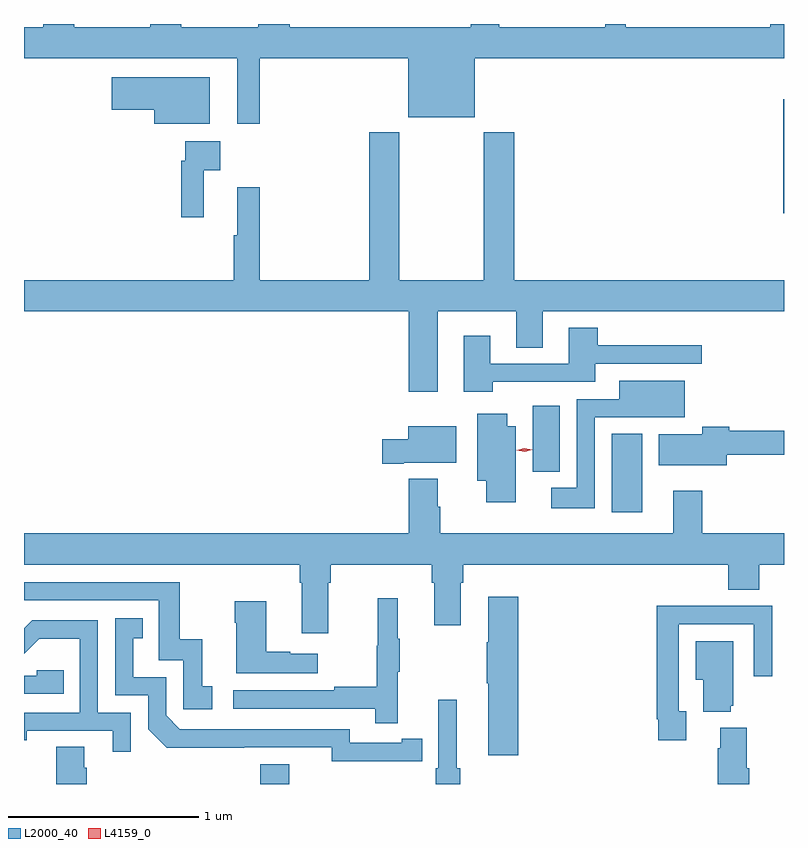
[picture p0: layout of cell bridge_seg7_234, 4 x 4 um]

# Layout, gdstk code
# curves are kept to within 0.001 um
import gdstk
lib = gdstk.Library(unit=1e-6, precision=1e-09)
def R(c, l, rs):  # rectangles x0, y0, x1, y1
    for r in rs: c.add(gdstk.rectangle(r[:2], r[2:], *l))
def P(c, l, *ps):  # polygons
    for p in ps: c.add(gdstk.Polygon(p, *l))
L2000_40 = (2000, 40)
L4159_0 = (4159, 0)

bridge_seg7_234 = lib.new_cell('bridge_seg7_234')
R(bridge_seg7_234, L2000_40, [(267.368,1039.421,267.52,1039.525), (269.219,1040.85,269.38,1041.265), (268.802,1041.065,268.945,1041.412), (270.121,1042.426,270.125,1043.024)])
P(bridge_seg7_234, L2000_40, [(267.365,1043.24),(268.148,1043.24),(268.148,1042.931),(268.498,1042.931),(268.498,1043.24),(270.125,1043.24),(270.125,1043.421),(270.053,1043.421),(270.053,1043.404),(269.293,1043.404),(269.293,1043.421),(269.184,1043.421),(269.184,1043.404),(268.627,1043.404),(268.627,1043.421),(268.475,1043.421),(268.475,1043.404),(267.523,1043.404),(267.523,1043.421),(267.359,1043.421),(267.359,1043.404),(266.953,1043.404),(266.953,1043.421),(266.789,1043.421),(266.789,1043.404),(266.389,1043.404),(266.389,1043.421),(266.225,1043.421),(266.225,1043.404),(266.125,1043.404),(266.125,1043.24),(267.248,1043.24),(267.248,1042.896),(267.365,1042.896)],
  [(267.103,1043.14),(266.586,1043.14),(266.586,1042.97),(266.81,1042.97),(266.81,1042.895),(267.103,1042.895)],
  [(268.715,1041.718),(268.855,1041.718),(268.855,1041.908),(270.125,1041.908),(270.125,1042.072),(268.706,1042.072),(268.706,1042.852),(268.546,1042.852),(268.546,1042.072),(268.101,1042.072),(268.101,1042.852),(267.941,1042.852),(267.941,1042.072),(267.365,1042.072),(267.365,1042.561),(267.248,1042.561),(267.248,1042.308),(267.229,1042.308),(267.229,1042.072),(266.125,1042.072),(266.125,1041.908),(268.151,1041.908),(268.151,1041.486),(268.303,1041.486),(268.303,1041.908),(268.715,1041.908)],
  [(267.071,1042.652),(267.157,1042.652),(267.157,1042.804),(266.973,1042.804),(266.973,1042.7),(266.953,1042.7),(266.953,1042.404),(267.071,1042.404)],
  [(268.592,1041.537),(269.131,1041.537),(269.131,1041.633),(269.692,1041.633),(269.692,1041.73),(269.144,1041.73),(269.144,1041.823),(268.991,1041.823),(268.991,1041.633),(268.579,1041.633),(268.579,1041.781),(268.439,1041.781),(268.439,1041.486),(268.592,1041.486)],
  [(269.13,1041.351),(269.376,1041.351),(269.376,1041.35),(269.602,1041.35),(269.602,1041.544),(269.258,1041.544),(269.258,1041.447),(269.034,1041.447),(269.034,1040.98),(268.899,1040.98),(268.899,1040.873),(269.13,1040.873)],
  [(268.714,1041.304),(268.669,1041.304),(268.669,1041.37),(268.511,1041.37),(268.511,1041.017),(268.559,1041.017),(268.559,1040.904),(268.714,1040.904)],
  [(268.123,1041.113),(268.399,1041.113),(268.399,1041.304),(268.148,1041.304),(268.148,1041.235),(268.011,1041.235),(268.011,1041.106),(268.123,1041.106)],
  [(269.824,1041.153),(270.125,1041.153),(270.125,1041.281),(269.837,1041.281),(269.837,1041.3),(269.695,1041.3),(269.695,1041.262),(269.465,1041.262),(269.465,1041.098),(269.824,1041.098)],
  [(267.727,1040.48),(267.74,1040.48),(267.74,1040.576),(268.271,1040.576),(268.271,1040.48),(268.283,1040.48),(268.283,1040.256),(268.423,1040.256),(268.423,1040.48),(268.436,1040.48),(268.436,1040.576),(269.831,1040.576),(269.831,1040.443),(269.996,1040.443),(269.996,1040.576),(270.125,1040.576),(270.125,1040.74),(269.696,1040.74),(269.696,1040.965),(269.543,1040.965),(269.543,1040.74),(268.316,1040.74),(268.316,1040.879),(268.303,1040.879),(268.303,1041.028),(268.151,1041.028),(268.151,1040.74),(266.125,1040.74),(266.125,1040.576),(267.575,1040.576),(267.575,1040.48),(267.587,1040.48),(267.587,1040.214),(267.727,1040.214)],
  [(267.115,1039.935),(267.062,1039.935),(267.062,1040.182),(266.944,1040.182),(266.944,1040.484),(266.125,1040.484),(266.125,1040.388),(266.835,1040.388),(266.835,1040.073),(266.964,1040.073),(266.964,1039.815),(267.115,1039.815)],
  [(268.727,1040.407),(268.568,1040.407),(268.568,1040.168),(268.561,1040.168),(268.561,1039.951),(268.568,1039.951),(268.568,1039.572),(268.727,1039.572)],
  [(268.091,1040.011),(268.102,1040.011),(268.102,1040.185),(268.091,1040.185),(268.091,1040.398),(267.988,1040.398),(267.988,1040.148),(267.981,1040.148),(267.981,1039.934),(267.757,1039.934),(267.757,1039.914),(267.225,1039.914),(267.225,1039.818),(267.973,1039.818),(267.973,1039.74),(268.091,1039.74)],
  [(267.67,1040.107),(267.527,1040.107),(267.527,1040.117),(267.4,1040.117),(267.4,1040.382),(267.235,1040.382),(267.235,1040.27),(267.242,1040.27),(267.242,1040.003),(267.67,1040.003)],
  [(269.611,1039.805),(269.571,1039.805),(269.571,1040.262),(269.967,1040.262),(269.967,1039.989),(270.063,1039.989),(270.063,1040.358),(269.747,1040.358),(269.747,1040.36),(269.455,1040.36),(269.455,1039.762),(269.463,1039.762),(269.463,1039.65),(269.611,1039.65)],
  [(268.112,1039.542),(268.22,1039.542),(268.22,1039.658),(268.112,1039.658),(268.112,1039.638),(267.84,1039.638),(267.84,1039.71),(266.946,1039.71),(266.874,1039.782),(266.874,1039.983),(266.701,1039.983),(266.701,1040.187),(266.75,1040.187),(266.75,1040.293),(266.604,1040.293),(266.604,1039.887),(266.778,1039.887),(266.778,1039.71),(266.876,1039.613),(267.744,1039.614),(267.744,1039.541)],
  [(266.688,1039.797),(266.514,1039.797),(266.514,1040.283),(266.168,1040.283),(266.125,1040.24),(266.125,1040.107),(266.204,1040.186),(266.418,1040.186),(266.418,1039.797),(266.125,1039.797),(266.125,1039.65),(266.14,1039.65),(266.14,1039.701),(266.591,1039.701),(266.591,1039.59),(266.688,1039.59)],
  [(269.846,1039.833),(269.857,1039.833),(269.857,1040.173),(269.66,1040.173),(269.66,1039.97),(269.699,1039.97),(269.699,1039.802),(269.846,1039.802)],
  [(266.333,1040.019),(266.193,1040.019),(266.193,1039.992),(266.125,1039.992),(266.125,1039.896),(266.333,1039.896)],
  [(268.421,1039.504),(268.402,1039.504),(268.402,1039.864),(268.305,1039.864),(268.305,1039.504),(268.292,1039.504),(268.292,1039.421),(268.421,1039.421)],
  [(269.942,1039.504),(269.929,1039.504),(269.929,1039.717),(269.789,1039.717),(269.789,1039.61),(269.777,1039.61),(269.777,1039.421),(269.942,1039.421)],
  [(266.456,1039.506),(266.443,1039.506),(266.443,1039.616),(266.296,1039.616),(266.296,1039.421),(266.456,1039.421)])
P(bridge_seg7_234, L4159_0, [(268.76,1041.169),(268.718,1041.178),(268.718,1041.178),(268.718,1041.178),(268.759,1041.189),(268.8,1041.181),(268.8,1041.181),(268.8,1041.181)])

lib.write_gds('bridge_seg7_234.gds')
